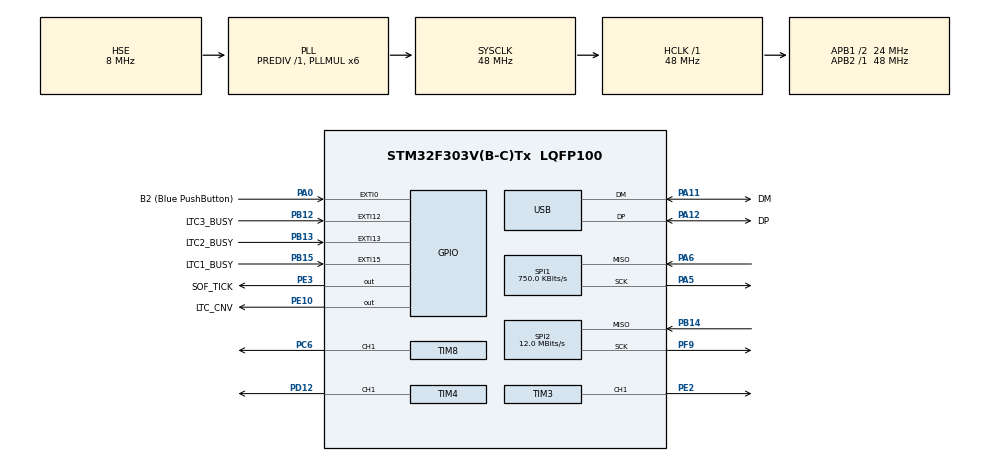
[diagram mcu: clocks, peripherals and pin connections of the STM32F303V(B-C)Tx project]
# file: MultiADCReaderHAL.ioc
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Mcu.Family=STM32F3
Mcu.Name=STM32F303V(B-C)Tx
Mcu.Package=LQFP100
NVIC.EXTI0_IRQn=true\:0\:0\:false\:false\:true\:true\:true\:true
NVIC.EXTI15_10_IRQn=true\:0\:0\:false\:false\:true\:true\:true\:true
NVIC.PriorityGroup=NVIC_PRIORITYGROUP_0
NVIC.SPI1_IRQn=true\:0\:0\:false\:false\:true\:true\:true\:true
NVIC.TIM3_IRQn=true\:0\:0\:false\:false\:true\:true\:true\:true
NVIC.TIM4_IRQn=true\:0\:0\:false\:false\:true\:true\:true\:true
NVIC.USB_LP_CAN_RX0_IRQn=true\:0\:0\:false\:false\:true\:false\:true\:true
PA0.GPIO_Label=B2 (Blue PushButton)
PA0.Signal=GPXTI0
PA11.GPIO_Label=DM
PA11.Mode=Device
PA11.Signal=USB_DM
PA12.GPIO_Label=DP
PA12.Mode=Device
PA12.Signal=USB_DP
PA13.GPIO_Label=SWDIO
PA13.Mode=Serial_Wire
PA13.Signal=SYS_JTMS-SWDIO
PA14.GPIO_Label=SWCLK
PA14.Mode=Serial_Wire
PA14.Signal=SYS_JTCK-SWCLK
PA5.Mode=RX_Only_Simplex_Unidirect_Master
PA5.Signal=SPI1_SCK
PA6.Mode=RX_Only_Simplex_Unidirect_Master
PA6.Signal=SPI1_MISO
PB12.GPIO_Label=LTC3_BUSY
PB12.Signal=GPXTI12
PB13.GPIO_Label=LTC2_BUSY
PB13.Signal=GPXTI13
PB14.Mode=RX_Only_Simplex_Unidirect_Master
PB14.Signal=SPI2_MISO
PB15.GPIO_Label=LTC1_BUSY
PB15.GPIO_ModeDefaultEXTI=GPIO_MODE_IT_FALLING
PB15.GPIO_PuPd=GPIO_PULLDOWN
PB15.Signal=GPXTI15
PC14-OSC32_IN.GPIO_Label=OSC32_IN
PC14-OSC32_IN.Signal=RCC_OSC32_IN
PC15-OSC32_OUT.GPIO_Label=OSC32_OUT
PC15-OSC32_OUT.Signal=RCC_OSC32_OUT
PC6.Signal=S_TIM8_CH1
PD12.Signal=S_TIM4_CH1
PE10.GPIO_Label=LTC_CNV
PE10.GPIO_PuPd=GPIO_PULLDOWN
PE10.GPIO_Speed=GPIO_SPEED_FREQ_HIGH
PE10.Signal=GPIO_Output
PE2.Signal=S_TIM3_CH1
PE3.GPIO_Label=SOF_TICK
PE3.Signal=GPIO_Output
PF0-OSC_IN.GPIO_Label=OSC_IN
PF0-OSC_IN.Mode=HSE-External-Clock-Source
PF0-OSC_IN.Signal=RCC_OSC_IN
PF1-OSC_OUT.GPIO_Label=OSC_OUT
PF1-OSC_OUT.Signal=RCC_OSC_OUT
PF9.Mode=RX_Only_Simplex_Unidirect_Master
PF9.Signal=SPI2_SCK
ProjectManager.HeapSize=0x200
ProjectManager.StackSize=0x400
ProjectManager.TargetToolchain=STM32CubeIDE
RCC.AHBFreq_Value=48000000
RCC.APB1CLKDivider=RCC_HCLK_DIV2
RCC.APB1Freq_Value=24000000
RCC.APB1TimFreq_Value=48000000
RCC.APB2Freq_Value=48000000
RCC.APB2TimFreq_Value=48000000
RCC.CortexFreq_Value=48000000
RCC.HCLKFreq_Value=48000000
RCC.HSE_VALUE=8000000
RCC.HSI_VALUE=8000000
RCC.LSE_VALUE=32768
RCC.PLLMUL=RCC_PLL_MUL6
RCC.SYSCLKFreq_VALUE=48000000
RCC.SYSCLKSourceVirtual=RCC_SYSCLKSOURCE_PLLCLK
RCC.USBFreq_Value=48000000
SH.S_TIM3_CH1.0=TIM3_CH1,Forced Output1 CH1
SH.S_TIM4_CH1.0=TIM4_CH1,Output Compare1 CH1
SH.S_TIM8_CH1.0=TIM8_CH1,Output Compare1 CH1
SPI1.BaudRatePrescaler=SPI_BAUDRATEPRESCALER_64
SPI1.CLKPhase=SPI_PHASE_2EDGE
SPI1.CalculateBaudRate=750.0 KBits/s
SPI1.DataSize=SPI_DATASIZE_16BIT
SPI1.Direction=SPI_DIRECTION_2LINES_RXONLY
SPI1.Mode=SPI_MODE_MASTER
SPI1.VirtualType=VM_MASTER
SPI2.CalculateBaudRate=12.0 MBits/s
SPI2.Direction=SPI_DIRECTION_2LINES_RXONLY
SPI2.Mode=SPI_MODE_MASTER
SPI2.VirtualType=VM_MASTER
TIM3.Channel-Forced\ Output1\ CH1=TIM_CHANNEL_1
TIM3.Period=10
TIM3.Pulse-Forced\ Output1\ CH1=1
TIM4.Channel-Output\ Compare1\ CH1=TIM_CHANNEL_1
TIM4.OCMode_1=TIM_OCMODE_TOGGLE
TIM4.OCPolarity_1=TIM_OCPOLARITY_LOW
TIM4.Period=9999
TIM4.Prescaler=48-1
TIM4.Pulse-Output\ Compare1\ CH1=0
TIM4.TIM_MasterOutputTrigger=TIM_TRGO_UPDATE
TIM8.Channel-Output\ Compare1\ CH1=TIM_CHANNEL_1
TIM8.OCMode_1=TIM_OCMODE_RETRIGERRABLE_OPM2
TIM8.OCPolarity_1=TIM_OCPOLARITY_HIGH
TIM8.Period=19
TIM8.Prescaler=0
TIM8.Pulse-Output\ Compare1\ CH1=0
TIM8.TIM_MasterSlaveMode=TIM_MASTERSLAVEMODE_ENABLE
USB_DEVICE.CLASS_NAME_FS=CDC
USB_DEVICE.PRODUCT_STRING_CDC_FS=STM32 MultiADCReader
USB_DEVICE.VirtualMode=Cdc
USB_DEVICE.VirtualModeFS=Cdc_FS
VP_TIM3_VS_OPM.Mode=OPM_bit
VP_TIM4_VS_ClockSourceINT.Mode=Internal
VP_TIM8_VS_ClockSourceINT.Mode=Internal
VP_TIM8_VS_ClockSourceITR.Mode=TriggerSource_ITR2
VP_TIM8_VS_ControllerModeTrigger.Mode=Trigger Mode
VP_USB_DEVICE_VS_USB_DEVICE_CDC_FS.Mode=CDC_FS
board=STM32F3DISCOVERY

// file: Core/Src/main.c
/* USER CODE BEGIN Header */
/**
  ******************************************************************************
  * @file           : main.c
  * @brief          : Main program body
  ******************************************************************************
  * @attention
  *
  * Copyright (c) 2025 STMicroelectronics.
  * All rights reserved.
  *
  * This software is licensed under terms that can be found in the LICENSE file
  * in the root directory of this software component.
  * If no LICENSE file comes with this software, it is provided AS-IS.
  *
  ******************************************************************************
  */
/* USER CODE END Header */
#include "main.h"
#include "spi.h"
#include "tim.h"
#include "usb_device.h"
#include "gpio.h"

/* USER CODE BEGIN Includes */
#include "ringbuffer.h"
#include "at_parser.h"
#include "ltc2368driver.h"
#include "adc_mgr.h"
#include "adc_cli.h"
#include "usbd_cdc_if.h"
#include "string.h"
#include "stdio.h"
/* USER CODE END Includes */

/* USER CODE BEGIN PV */

uint32_t OC_Modes[] = {
	TIM_OCMODE_ACTIVE, /*!< Set channel to active level on match   */
	TIM_OCMODE_INACTIVE,/*!< Set channel to inactive level on match */
	TIM_OCMODE_TOGGLE,/*!< Toggle                                 */
	TIM_OCMODE_PWM1,/*!< PWM mode 1                             */
	TIM_OCMODE_PWM2,/*!< PWM mode 2                             */
	TIM_OCMODE_FORCED_ACTIVE,/*!< Force active level                     */
	TIM_OCMODE_FORCED_INACTIVE,
	TIM_OCMODE_RETRIGERRABLE_OPM1, /*!< Retrigerrable OPM mode 1               */
	TIM_OCMODE_RETRIGERRABLE_OPM2
};

uint16_t buf[100];
uint16_t buf_ptr = 0;
char msg_buf[50];
char receive_buf[64];
uint8_t button_pressed = 0;
uint8_t timer_irq = 0;
uint8_t busy_irq = 0;
uint8_t sampling_on = 0;
uint8_t iter = 0;
const char *data[] = {
		"TIM_OCMODE_ACTIVE\r\n",
		"TIM_OCMODE_INACTIVE\r\n",
		"TIM_OCMODE_TOGGLE\r\n",
		"TIM_OCMODE_PWM1\r\n",/*!< PWM mode 1                             */
		"TIM_OCMODE_PWM2\r\n",/*!< PWM mode 2                             */
		"TIM_OCMODE_FORCED_ACTIVE\r\n",/*!< Force active level                     */
		"TIM_OCMODE_FORCED_INACTIVE\r\n",
		"TIM_OCMODE_RETRIGERRABLE_OPM1\r\n", /*!< Retrigerrable OPM mode 1               */
		"TIM_OCMODE_RETRIGERRABLE_OPM2\r\n"
};

SPI_HandleTypeDef *spi_available[] = {&hspi1, &hspi2};
//
//LTC2368_Handler ltc2368_1 = {
//		.busy_pin = {LTC_BUSY_GPIO_Port, LTC_BUSY_Pin},
//		.spi_assinged = &hspi1,
//		.device_id = 0,
//		.busy = true,
//		.buf_ptr = 0
//};
extern RingBuffer rb_tx;
extern RingBuffer rb_rx;

extern bool data_collected;
extern ADC_Handler g_adc;
extern ADC_Handler *g_adc_mgr;
/* USER CODE END PV */

void SystemClock_Config(void);
/* USER CODE BEGIN PFP */
void Toggle_Sampling(void);
void Change_TIM_Mode(void);
AT_StatusTypeDef USB_Write(const char* buf, size_t len);
void App_ADC_Init(void);
/* USER CODE END PFP */

int main(void)
{

  /* MCU Configuration--------------------------------------------------------*/

  /* Reset of all peripherals, Initializes the Flash interface and the Systick. */
  HAL_Init();

  /* Configure the system clock */
  SystemClock_Config();

  /* Initialize all configured peripherals */
  MX_GPIO_Init();
  MX_SPI1_Init();
  MX_TIM3_Init();
  MX_TIM4_Init();
  MX_TIM8_Init();
  MX_USB_DEVICE_Init();
  MX_SPI2_Init();
  /* USER CODE BEGIN 2 */
  App_ADC_Init();
//  ADC_Init(&htim4, {&hspi1, })
  // Slave: 1 MHz, ARR=999, CH1 = Retriggerable OPM1/OPM2, CCR1=300
  HAL_TIM_Base_Start(&htim8);
  HAL_TIM_OC_Start(&htim8, TIM_CHANNEL_1);  // uruchamia wyjście kanału

  // Master: 1 MHz, ARR=999, CH1 OC Frozen, CCR1=100, TRGO=OC1REF
  __HAL_TIM_ENABLE_IT(&htim4, TIM_IT_CC1);
//  HAL_TIM_Base_Start(&htim4);
  //HAL_TIM_OC_Start(&htim4, TIM_CHANNEL_1);  // żeby OC1REF działał jako źródło TRGO
//  ADC_ManagerInit(g_adc_mgr, 1);
  char init_txt[25];
  char stop_txt[25];
//  sprintf(init_txt, "AT+ADC:SETUP=100,1\n");
//  RingBuffer_WriteString(&rb_rx, init_txt, strlen(init_txt));
//  memset(init_txt, '\0', 25);
//  sprintf(init_txt, "AT+ADC:START\n");
//  RingBuffer_WriteString(&rb_rx, init_txt, strlen(init_txt));
//  sprintf(stop_txt, "AT+ADC:STOP\n");
//  data_collected = true;
  /* USER CODE END 2 */

  /* Infinite loop */
  /* USER CODE BEGIN WHILE */
  while (1)
  {
	  if (timer_irq == 1 && data_collected == false){
//		  RingBuffer_WriteString("AT\r\n", 4);
//		  data_collected = true;
//		  timer_irq = 0;
	  }
	  if (data_collected){
		  uint8_t msg;
		  while (RingBuffer_Read(&rb_rx, &msg) == RB_OK){
			  AT_ReadChar(msg);
		  }
		  data_collected = false;
	  }
//	  if (button_pressed == 1){
//		  /* TIMER TESTS */
////		  HAL_Delay(1);
////		  Change_TIM_Mode();
//		  /* CONVERSION TESTS */
////		  HAL_GPIO_WritePin(LTC_CNV_GPIO_Port, LTC_CNV_Pin, GPIO_PIN_SET);
////		  HAL_Delay(1);
////		  HAL_GPIO_WritePin(LTC_CNV_GPIO_Port, LTC_CNV_Pin, GPIO_PIN_RESET);
//		  /* SAMPLING TOGGLE */
////		  Toggle_Sampling();
//		  /* AT TEST */
//		  if (g_adc_mgr->state)
//			  RingBuffer_WriteString(&rb_rx, stop_txt, strlen(stop_txt));
//		  else  RingBuffer_WriteString(&rb_rx, init_txt, strlen(init_txt));
//		  data_collected = true;
//		  button_pressed = 0;
//	  }
//	  if (!ltc2368_1.busy){
//		  LTC2368_Read(&ltc2368_1);
////		  ltc2368_1->busy = true;
////		  sprintf(msg_buf, "Collected: %d\r\n", buf[buf_ptr]);
//		  buf_ptr = (buf_ptr+1)%100;
////		  CDC_Transmit_FS((uint8_t*)msg_buf, strlen(msg_buf));
////		  busy_irq = 0;
//	  }
	  ADC_Acquire(g_adc_mgr);
    /* USER CODE END WHILE */

  }
}

void SystemClock_Config(void)
{
  RCC_OscInitTypeDef RCC_OscInitStruct = {0};
  RCC_ClkInitTypeDef RCC_ClkInitStruct = {0};
  RCC_PeriphCLKInitTypeDef PeriphClkInit = {0};

  /** Initializes the RCC Oscillators according to the specified parameters
  * in the RCC_OscInitTypeDef structure.
  */
  RCC_OscInitStruct.OscillatorType = RCC_OSCILLATORTYPE_HSE;
  RCC_OscInitStruct.HSEState = RCC_HSE_BYPASS;
  RCC_OscInitStruct.HSEPredivValue = RCC_HSE_PREDIV_DIV1;
  RCC_OscInitStruct.HSIState = RCC_HSI_ON;
  RCC_OscInitStruct.PLL.PLLState = RCC_PLL_ON;
  RCC_OscInitStruct.PLL.PLLSource = RCC_PLLSOURCE_HSE;
  RCC_OscInitStruct.PLL.PLLMUL = RCC_PLL_MUL6;
  if (HAL_RCC_OscConfig(&RCC_OscInitStruct) != HAL_OK)
  {
    Error_Handler();
  }

  /** Initializes the CPU, AHB and APB buses clocks
  */
  RCC_ClkInitStruct.ClockType = RCC_CLOCKTYPE_HCLK|RCC_CLOCKTYPE_SYSCLK
                              |RCC_CLOCKTYPE_PCLK1|RCC_CLOCKTYPE_PCLK2;
  RCC_ClkInitStruct.SYSCLKSource = RCC_SYSCLKSOURCE_PLLCLK;
  RCC_ClkInitStruct.AHBCLKDivider = RCC_SYSCLK_DIV1;
  RCC_ClkInitStruct.APB1CLKDivider = RCC_HCLK_DIV2;
  RCC_ClkInitStruct.APB2CLKDivider = RCC_HCLK_DIV1;

  if (HAL_RCC_ClockConfig(&RCC_ClkInitStruct, FLASH_LATENCY_1) != HAL_OK)
  {
    Error_Handler();
  }
  PeriphClkInit.PeriphClockSelection = RCC_PERIPHCLK_USB|RCC_PERIPHCLK_TIM8;
  PeriphClkInit.USBClockSelection = RCC_USBCLKSOURCE_PLL;
  PeriphClkInit.Tim8ClockSelection = RCC_TIM8CLK_HCLK;
  if (HAL_RCCEx_PeriphCLKConfig(&PeriphClkInit) != HAL_OK)
  {
    Error_Handler();
  }
}

/* USER CODE BEGIN 4 */
void HAL_TIM_OC_DelayElapsedCallback(TIM_HandleTypeDef *htim){
	if (htim == &htim4 && htim->Channel == HAL_TIM_ACTIVE_CHANNEL_1){
		timer_irq = 1;
		NVIC_ClearPendingIRQ(TIM4_IRQn);
	}
}

void HAL_TIM_PeriodElapsedCallback(TIM_HandleTypeDef *htim){
	if (htim == &htim4){
		timer_irq = 1;
		NVIC_ClearPendingIRQ(TIM4_IRQn);
	}
}

void HAL_GPIO_EXTI_Callback(uint16_t pin){
	if (pin == GPIO_PIN_0){
		button_pressed = 1;
		NVIC_ClearPendingIRQ(EXTI0_IRQn);
	}
//	else if (pin == ltc2368_1.busy_pin.pin){
//		ltc2368_1.busy = false;
//	}
    uint8_t line = ADC_PinToIndex(pin);
    uint8_t id   = g_adc.exti_to_dev[line];
    if (id != 0xFF && id < g_adc.ndevs) {
    	ADC_MarkReady(g_adc_mgr, id);
    }
}

void Toggle_Sampling(void){
	if (sampling_on){
		HAL_TIM_OC_Stop(&htim4, TIM_CHANNEL_1);
		sampling_on = 0;
	}
	else {
		HAL_TIM_OC_Start(&htim4, TIM_CHANNEL_1);
		sampling_on = 1;
	}
}

void Change_TIM_Mode(void){

	static uint8_t mode_sel = 0;
	size_t mode_size = sizeof(OC_Modes)/sizeof(OC_Modes[0]);
	HAL_TIM_OC_Stop(&htim8, TIM_CHANNEL_1);
	TIM_OC_InitTypeDef sConfigOC = {0};
//	uint32_t tmp_pulse = htim8->Instance->CCR1;
	sConfigOC.OCMode = OC_Modes[mode_sel];
	mode_sel = (mode_sel + 1)%mode_size;
	sConfigOC.Pulse = 300;
	sConfigOC.OCPolarity = TIM_OCPOLARITY_HIGH;
	sConfigOC.OCNPolarity = TIM_OCNPOLARITY_HIGH;
	sConfigOC.OCFastMode = TIM_OCFAST_DISABLE;
	sConfigOC.OCIdleState = TIM_OCIDLESTATE_RESET;
	sConfigOC.OCNIdleState = TIM_OCNIDLESTATE_RESET;
	if (HAL_TIM_OC_ConfigChannel(&htim8, &sConfigOC, TIM_CHANNEL_1) != HAL_OK)
	{
	Error_Handler();
	}

	CDC_Transmit_FS((uint8_t*)data[iter], strlen(data[iter]));
	iter = (iter+1)%9;

	HAL_TIM_OC_Start(&htim8, TIM_CHANNEL_1);
}

AT_StatusTypeDef USB_Write(const char* buf, size_t len){
    size_t n = RingBuffer_WriteString(&rb_tx, buf, len);
    //Poking TxPump to start transmission
    USB_TxPumpFromRing(&rb_tx);
    return (n == len) ? AT_OK : AT_ERROR;
}

void App_ADC_Init(void)
{
    SPI_HandleTypeDef *spi_handlers[SPI_AMOUNT] = {
        &hspi1,
        &hspi2
    };

    GPIO_Assignment busy_pins[MAX_DEVICES] = {
        { GPIOB, LTC1_BUSY_Pin },  // dev 0
        { GPIOB, LTC2_BUSY_Pin },  // dev 1
        { GPIOB, LTC3_BUSY_Pin },  // dev 2
    };
    for (uint8_t i = 3; i < MAX_DEVICES; ++i) {
        busy_pins[i].port = NULL;
        busy_pins[i].pin  = 0;
    }

    AT_Init(USB_Write, NULL);
    ADC_CommandInit();

    if (!ADC_Init(&g_adc, &htim4, TIM_CHANNEL_1, spi_handlers, busy_pins, USB_Write, NULL)) {
        Error_Handler();
    }
}
/* USER CODE END 4 */

void Error_Handler(void)
{
  __disable_irq();
  while (1)
  {
  }
}
